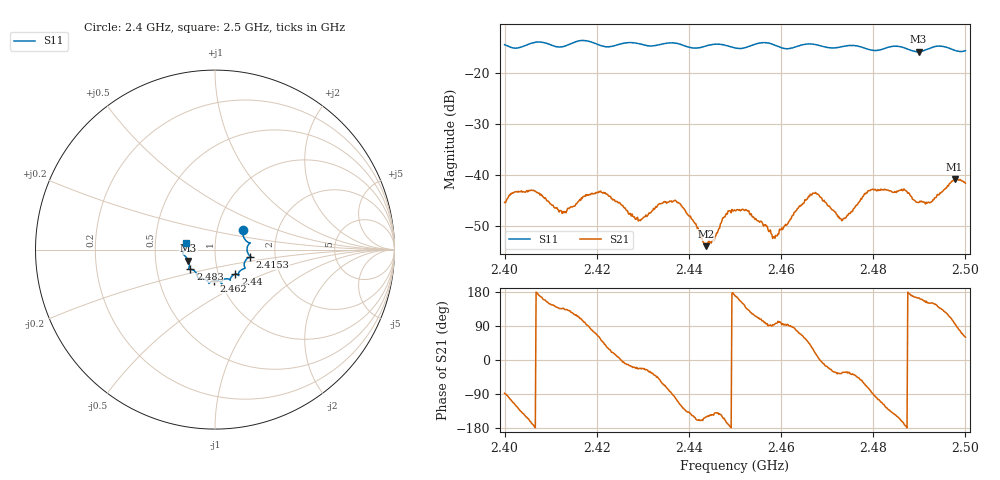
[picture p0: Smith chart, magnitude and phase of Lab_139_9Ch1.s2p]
# Hz S RI R 50
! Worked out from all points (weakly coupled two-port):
!   601 points, 2.4 GHz to 2.5 GHz, reference 50 ohm
!   highest |S21| = -40.82 dB at 2.4977 GHz (marker M1); lowest = -54.0 dB at 2.4437 GHz (marker M2)
!   lowest |S11| = -15.9 dB at 2.4898 GHz (marker M3), VSWR 1.38, Z = 36.8 - j4.64 ohm
!   |S11| at or under -10 dB: start of sweep to end of sweep
!   S12 and S22 are empty: the file has one direction only
!   S11 on the Smith chart (normalised r, x): 2.4 GHz: 1.33, +0.29; 2.4153 GHz: 1.48, -0.12; 2.44 GHz: 1.20, -0.34; 2.462 GHz: 0.93, -0.33; 2.483 GHz: 0.74, -0.17; 2.5 GHz: 0.72, +0.06
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2.4e9  0.155 0.1069  0.000228 -0.00538  0 0  0 0
2.406e9  0.1919 0.038  -0.00691 -0.00136  0 0  0 0
2.412333e9  0.1789 -0.00512  -0.00316 0.00311  0 0  0 0
2.415333e9  0.1965 -0.0387  -0.00241 0.00439  0 0  0 0
2.416667e9  0.2023 -0.0427  -0.00183 0.00567  0 0  0 0
2.421333e9  0.1725 -0.0567  0.00453 0.00486  0 0  0 0
2.429e9  0.1618 -0.1059  0.00324 -0.00142  0 0  0 0
2.433333e9  0.1308 -0.1337  0.00345 -0.00379  0 0  0 0
2.437167e9  0.1318 -0.1432  -0.00115 -0.00546  0 0  0 0
2.44e9  0.114 -0.1367  -0.00291 -0.00272  0 0  0 0
2.443667e9  0.0865 -0.1606  -0.00175 -0.00099  0 0  0 0
2.45e9  0.0648 -0.1624  -0.00442 0.000772  0 0  0 0
2.458667e9  0.0333 -0.1832  -0.000225 0.00239  0 0  0 0
2.462e9  -0.00494 -0.173  -4.03e-05 0.00369  0 0  0 0
2.466667e9  -0.0343 -0.188  0.00534 0.00342  0 0  0 0
2.473333e9  -0.0829 -0.1602  0.00303 -0.00196  0 0  0 0
2.478667e9  -0.1013 -0.1376  0.00219 -0.0063  0 0  0 0
2.483e9  -0.1374 -0.1095  -0.00423 -0.00568  0 0  0 0
2.483333e9  -0.1402 -0.1093  -0.00467 -0.00528  0 0  0 0
2.489833e9  -0.1483 -0.0613  -0.00515 0.00149  0 0  0 0
2.497667e9  -0.1657 0.00105  -0.00103 0.00904  0 0  0 0
2.5e9  -0.1595 0.0392  0.00411 0.00719  0 0  0 0
